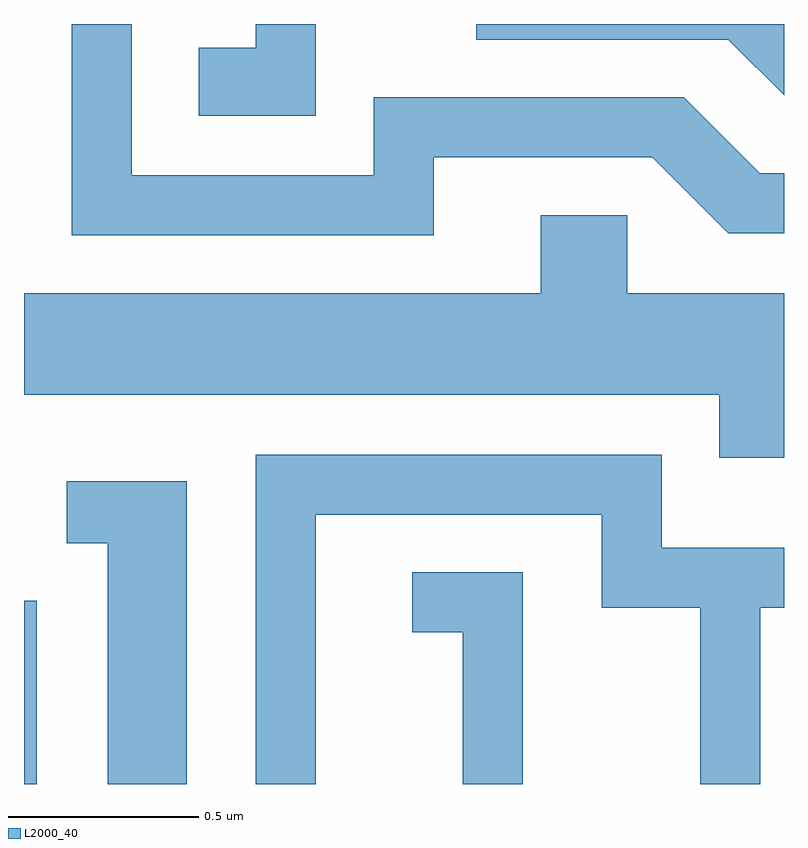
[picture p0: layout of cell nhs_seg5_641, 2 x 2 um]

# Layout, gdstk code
import gdstk
lib = gdstk.Library(unit=1e-6, precision=1e-09)
def R(c, l, rs):  # rectangles x0, y0, x1, y1
    for r in rs: c.add(gdstk.rectangle(r[:2], r[2:], *l))
def P(c, l, *ps):  # polygons
    for p in ps: c.add(gdstk.Polygon(p, *l))
L2000_40 = (2000, 40)

nhs_seg5_641 = lib.new_cell('nhs_seg5_641')
R(nhs_seg5_641, L2000_40, [(189.611,1489.072,189.644,1489.554)])
P(nhs_seg5_641, L2000_40, [(190.689,1490.721),(191.264,1490.721),(191.464,1490.521),(191.611,1490.521),(191.611,1490.679),(191.547,1490.679),(191.347,1490.879),(190.531,1490.879),(190.531,1490.674),(189.894,1490.674),(189.894,1491.072),(189.736,1491.072),(189.736,1490.516),(190.689,1490.516)],
  [(191.611,1491.072),(190.801,1491.072),(190.801,1491.031),(191.464,1491.031),(191.611,1490.884)],
  [(190.379,1491.072),(190.221,1491.072),(190.221,1491.009),(190.071,1491.009),(190.071,1490.831),(190.379,1490.831)],
  [(191.611,1490.364),(191.199,1490.364),(191.199,1490.569),(190.971,1490.569),(190.971,1490.364),(189.611,1490.364),(189.611,1490.096),(191.441,1490.096),(191.441,1489.931),(191.611,1489.931)],
  [(190.379,1489.781),(191.131,1489.781),(191.131,1489.536),(191.391,1489.536),(191.391,1489.072),(191.549,1489.072),(191.549,1489.536),(191.611,1489.536),(191.611,1489.694),(191.289,1489.694),(191.289,1489.939),(190.221,1489.939),(190.221,1489.072),(190.379,1489.072)],
  [(190.039,1489.869),(189.723,1489.869),(189.723,1489.706),(189.831,1489.706),(189.831,1489.072),(190.039,1489.072)],
  [(190.924,1489.629),(190.633,1489.629),(190.633,1489.471),(190.766,1489.471),(190.766,1489.072),(190.924,1489.072)])

lib.write_gds('nhs_seg5_641.gds')
